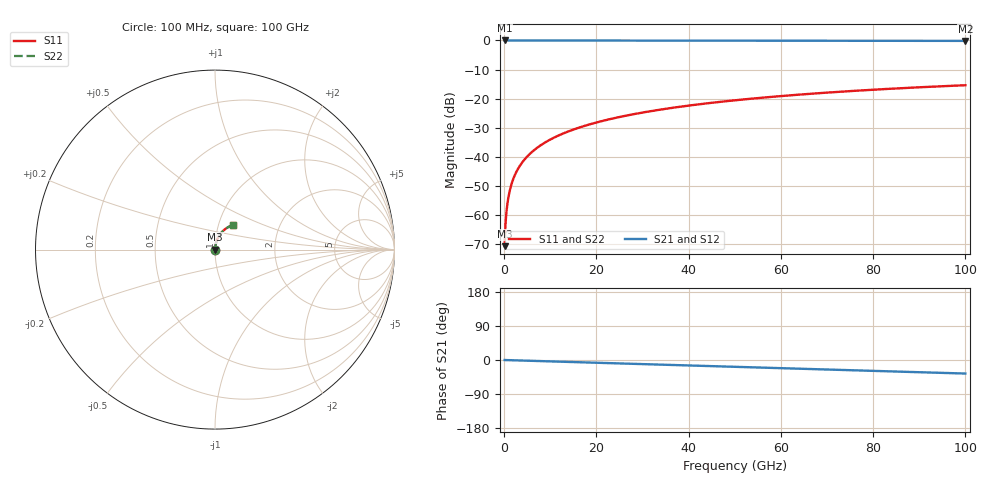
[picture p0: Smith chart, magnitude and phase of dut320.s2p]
! Touchstone file exported from HFSS 2026.1.0
!  File:  C:/ffzhzh/LocalFiles/Ansys_Project_Files/temp_train_TSV_320_1783509497_55944.aedt
!  Generated:  07:19:33 PM Jul  8, 2026
!  Design:  TSV
!  Project:  temp_train_TSV_320_1783509497_55944
! Variables:
!  h_bsmrdl = 2um
!  h_ox = 20um
!  h_rdl = 5um
!  h_sub = 65.92um
!  h_tmrdl = 5um
!  h_tsv = 65.92um
!  h_via = 3um
!  l_bsmrdl = 300um
!  l_sub = 414.56um
!  l_tmrdl = 200um
!  m_sub = 200um
!  pitch = 43.99um
!  r_tsv = 7.28um
!  s_tmrdl = 10um
!  w_bsmrdl = 18um
!  w_sub = 500um
!  w_tmrdl = 12um
!  x_tsv_center1 = 206um
!  x_tsv_center2 = 524um
!  x_tsv_center3 = 736um
!  x_tsv_center4 = 1054um
!  x_tsv_center5 = 1266um
!  x_tsv_center6 = 1584um
# GHz S MA R 50.000000
! Terminal data exported
! Port[1] = TSV1_1_T1
! Port[2] = TSV1_1_T2
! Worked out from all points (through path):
!   1000 points, 100 MHz to 100 GHz, reference 50 ohm
!   highest |S21| = 0.00 dB at 100 MHz (marker M1); lowest = -0.2 dB at 100 GHz (marker M2)
!   group delay of S21, straight-line fit = 993 fs
!   lowest |S11| = -70.7 dB at 100 MHz (marker M3), VSWR 1.00, Z = 50 + j0.0233 ohm
!   |S11| at or under -10 dB: start of sweep to end of sweep
!   |S22| runs from -70.7 to -15.4 dB; largest |S21 - S12| = 4.6e-15
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0.1  0.0002934 52.6  0.9998 -0.0  0.9998 -0.0  0.0002934 52.6
! Gamma 0 0 0 0
! Port Impedance 50 0 50 0
0.4  0.0009241 76.1  0.9998 -0.2  0.9998 -0.2  0.0009241 76.1
0.7  0.001555 80.3  0.9997 -0.3  0.9997 -0.3  0.001555 80.3
0.8  0.001765 81.0  0.9997 -0.3  0.9997 -0.3  0.001765 81.0
1  0.002183 82.0  0.9997 -0.4  0.9997 -0.4  0.002183 82.0
1.3  0.002806 82.9  0.9997 -0.5  0.9997 -0.5  0.002806 82.9
1.7  0.003628 83.5  0.9996 -0.6  0.9996 -0.6  0.003628 83.5
2.3  0.004843 83.9  0.9995 -0.9  0.9995 -0.9  0.004843 83.9
3  0.006238 84.1  0.9995 -1.1  0.9995 -1.1  0.006238 84.1
3.8  0.007815 84.3  0.9994 -1.4  0.9994 -1.4  0.007815 84.3
4.8  0.009774 84.3  0.9993 -1.8  0.9993 -1.8  0.009774 84.3
6  0.01212 84.3  0.9992 -2.2  0.9992 -2.2  0.01212 84.3
8.8  0.01756 83.9  0.999 -3.2  0.999 -3.2  0.01756 83.9
12.4  0.02451 83.0  0.9986 -4.5  0.9986 -4.5  0.02451 83.0
16.8  0.03293 81.7  0.9982 -6.1  0.9982 -6.1  0.03293 81.7
24.2  0.04694 79.4  0.9974 -8.8  0.9974 -8.8  0.04694 79.4
33.4  0.06405 76.3  0.9962 -12.1  0.9962 -12.1  0.06405 76.4
41.2  0.07823 73.7  0.995 -14.9  0.995 -14.9  0.07823 73.7
50.1  0.09398 70.6  0.9934 -18.1  0.9934 -18.1  0.09397 70.6
66.7  0.1219 64.9  0.9901 -24.0  0.9901 -24.0  0.1219 64.9
83.4  0.1476 59.1  0.9863 -29.9  0.9863 -29.9  0.1476 59.1
100  0.1703 53.3  0.9824 -35.8  0.9824 -35.8  0.1703 53.4
